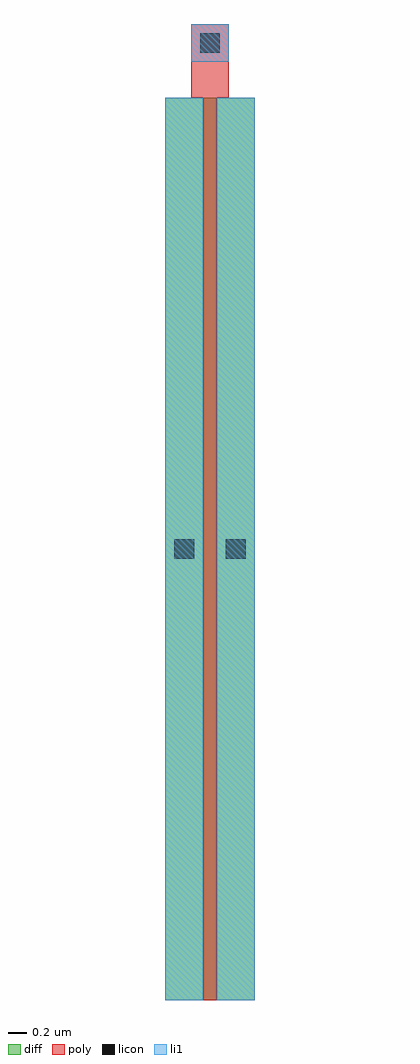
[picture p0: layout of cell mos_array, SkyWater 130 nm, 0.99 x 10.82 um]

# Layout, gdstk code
import gdstk
lib = gdstk.Library(unit=1e-6, precision=1e-09)
def R(c, l, rs):  # rectangles x0, y0, x1, y1
    for r in rs: c.add(gdstk.rectangle(r[:2], r[2:], *l))
diff = (65, 20)
poly = (66, 20)
licon = (66, 44)
li1 = (67, 20)

mos_array = lib.new_cell('mos_array')
R(mos_array, diff, [(0,0,0.99,10)])
R(mos_array, poly, [(0.42,0,0.57,10), (0.285,10,0.705,10.82)])
R(mos_array, licon, [(0.1,4.89,0.32,5.11), (0.67,4.89,0.89,5.11), (0.385,10.5,0.605,10.72)])
R(mos_array, li1, [(0,0,0.42,10), (0.57,0,0.99,10), (0.285,10.4,0.705,10.82)])

lib.write_gds('mos_array.gds')
